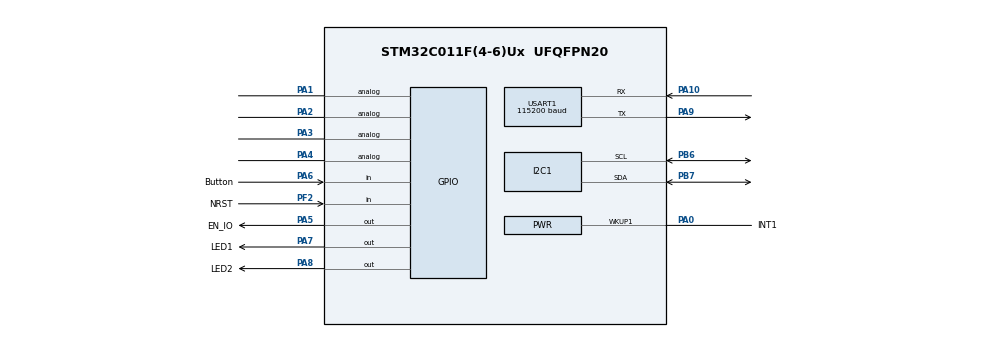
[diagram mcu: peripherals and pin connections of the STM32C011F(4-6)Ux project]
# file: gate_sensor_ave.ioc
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I2C1.Timing=0x00100B0C
Mcu.Family=STM32C0
Mcu.Name=STM32C011F(4-6)Ux
Mcu.Package=UFQFPN20
NVIC.TIM14_IRQn=true\:0\:0\:true\:false\:true\:true\:true\:true
NVIC.TIM16_IRQn=true\:1\:0\:true\:false\:true\:true\:true\:true
PA0.GPIO_Label=INT1
PA0.Mode=WakeUp1
PA0.Signal=PWR_WKUP1
PA1.Signal=GPIO_Analog
PA10\ [PA12].Mode=Asynchronous
PA10\ [PA12].Signal=USART1_RX
PA13.Mode=Serial_Wire
PA13.Signal=DEBUG_SWDIO
PA14-BOOT0.Mode=Serial_Wire
PA14-BOOT0.Signal=DEBUG_SWCLK
PA2.Signal=GPIO_Analog
PA3.Signal=GPIO_Analog
PA4.Signal=GPIO_Analog
PA5.GPIO_Label=EN_IO
PA5.Signal=GPIO_Output
PA6.GPIO_Label=Button
PA6.GPIO_PuPd=GPIO_PULLUP
PA6.Signal=GPIO_Input
PA7.GPIO_Label=LED1
PA7.Signal=GPIO_Output
PA8.GPIO_Label=LED2
PA8.Signal=GPIO_Output
PA9\ [PA11].Mode=Asynchronous
PA9\ [PA11].Signal=USART1_TX
PB6.GPIO_Pu=GPIO_PULLUP
PB6.Mode=I2C
PB6.Signal=I2C1_SCL
PB7.GPIO_Pu=GPIO_PULLUP
PB7.Mode=I2C
PB7.Signal=I2C1_SDA
PC14-OSCX_IN\ (PC14).Signal=RCC_OSCX_IN
PC15-OSCX_OUT\ (PC15).Signal=RCC_OSCX_OUT
PF2-NRST.GPIO_Label=NRST
PF2-NRST.Signal=GPIO_Input
ProjectManager.HeapSize=0x200
ProjectManager.StackSize=0x400
ProjectManager.TargetToolchain=STM32CubeIDE
RCC.ADCFreq_Value=3000000
RCC.AHBFreq_Value=3000000
RCC.CortexFreq_Value=3000000
RCC.EXTERNAL_CLOCK_VALUE=12288000
RCC.HCLKFreq_Value=3000000
RCC.HSE_VALUE=8000000
RCC.HSISYSCLKDivider=RCC_HSI_DIV16
RCC.HSI_VALUE=48000000
RCC.LSE_VALUE=32768
RCC.SYSCLKFreq_VALUE=3000000
TIM14.ClockDivision=TIM_CLOCKDIVISION_DIV1
TIM14.Period=99
TIM14.Prescaler=299
TIM16.Period=9
TIM16.Prescaler=299
USART1.BaudRate=115200
USART1.OverSampling=UART_OVERSAMPLING_16
USART1.SwapParam=ADVFEATURE_SWAP_DISABLE
USART1.VirtualMode-Asynchronous=VM_ASYNC
VP_SYS_VS_PINREMAP.Mode=PINREMAP
VP_SYS_VS_PINREMAP_10_12.Mode=PINREMAP_10_12
VP_TIM14_VS_ClockSourceINT.Mode=Enable_Timer
VP_TIM16_VS_ClockSourceINT.Mode=Enable_Timer
board=custom

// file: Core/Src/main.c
/* USER CODE BEGIN Header */
/**
  ******************************************************************************
  * @file           : main.c
  * @brief          : Main program body
  ******************************************************************************
  * @attention
  *
  * Copyright (c) 2025 STMicroelectronics.
  * All rights reserved.
  *
  * This software is licensed under terms that can be found in the LICENSE file
  * in the root directory of this software component.
  * If no LICENSE file comes with this software, it is provided AS-IS.
  *
  ******************************************************************************
  */
/* USER CODE END Header */
#include "main.h"
#include "i2c.h"
#include "tim.h"
#include "usart.h"
#include "gpio.h"

/* USER CODE BEGIN Includes */
#include "stdbool.h"
#include "bma400.h"
#include "math.h"
#include <stdio.h>
#include <string.h>
/* USER CODE END Includes */

/* USER CODE BEGIN PD */
#define SAMPLE_WINDOW 			10
#define MOTION_THRESHOLD_START 	200.0f
#define MOTION_THRESHOLD_STOP 	120.0f
#define STABLE_WINDOW			300
#define DEBOUNCE_TIME_MS 		1000
#define WARMUP_SAMPLES 			10
/* USER CODE END PD */

/* USER CODE BEGIN PV */
float sample_buffer[SAMPLE_WINDOW] = {0};
uint8_t sample_index = 0;

static float avg_hist[STABLE_WINDOW];
static uint16_t avg_idx = 0;
static uint16_t avg_count = 0;

float ave_min = 0.0f;
float ave_max = 0.0f;

bool motion_detected = false;
bool motion_active = false;

uint32_t debounce_start_time = 0;
volatile uint16_t motion_time = 0;
volatile uint16_t final_motion_time = 0;

volatile uint8_t flag_2sec = 0;
volatile uint16_t send_2sec = 0;

uint8_t warmup_counter = 0;

struct bma400_dev bma400 = {
	.intf = BMA400_I2C_INTF,
	.intf_ptr = &hi2c1,
	.read = user_i2c_read,
	.write = user_i2c_write,
	.delay_us = user_delay_us
};

typedef enum {
    MOTION_IDLE,
    MOTION_RUNNING,
} motion_state_t;

motion_state_t motion_state = MOTION_IDLE;

/* USER CODE END PV */

void SystemClock_Config(void);

/* USER CODE BEGIN 0 */
void enterStandby(void)
{
	__HAL_PWR_CLEAR_FLAG(PWR_FLAG_WUF);
  	HAL_PWR_EnableWakeUpPin(PWR_WAKEUP_PIN1);
    HAL_PWR_EnterSTANDBYMode();
}

// Configure BMA400 for low power + wake-up on Y-axis motion
void configureBMA400(struct bma400_dev *dev)
{
	bma400_set_power_mode(BMA400_MODE_NORMAL, dev);

	struct bma400_device_conf dev_conf[] = {
		{
			.type = BMA400_AUTO_LOW_POWER,	// auto low power after movement stops (350 ms)
			.param.auto_lp = {
				.auto_low_power_trigger = BMA400_AUTO_LP_GEN1_TRIGGER | BMA400_AUTO_LP_TIMEOUT_EN | BMA400_AUTO_LP_TIME_RESET_EN,
				.auto_lp_timeout_threshold = 20000	// 200 x 2.5 ms =  500 ms
			}
		},
		{
			.type = BMA400_AUTOWAKEUP_INT,	// wake-up interrupt on motion detection on Y axis
			.param.wakeup = {
				.wakeup_ref_update = BMA400_UPDATE_EVERY_TIME,
				.sample_count = BMA400_SAMPLE_COUNT_3,
				.wakeup_axes_en = BMA400_AXIS_Y_EN,
				.int_wkup_threshold = 5,				// 5 mg threshold
				.int_chan = BMA400_INT_CHANNEL_1
			}
		},
		{
			.type = BMA400_INT_PIN_CONF,	// configure interrupt pin
			.param.int_conf = {
				.int_chan = BMA400_INT_CHANNEL_1,
				.pin_conf = BMA400_INT_OPEN_DRAIN_ACTIVE_0
			}
		}
	};

	bma400_set_device_conf(dev_conf, 3, dev);

	struct bma400_sensor_conf sensor_conf = {
		.type = BMA400_ACCEL,	// configure accelerometer
		.param.accel = {
			.range = BMA400_RANGE_2G,
			.data_src = BMA400_DATA_SRC_ACCEL_FILT_2,
			.osr = BMA400_ACCEL_OSR_SETTING_3,
			.odr = BMA400_ODR_800HZ
		}
	};

	bma400_set_sensor_conf(&sensor_conf, 1, dev);
	set_auto_wakeup(BMA400_ENABLE, dev);	// enable auto wake up
}

float calc_average(float *buf, uint8_t size)
{
    float sum = 0.0f;
    for (uint8_t i = 0; i < size; i++)
        sum += buf[i];
    return sum / size;
}

void Send16BitESP(UART_HandleTypeDef *huart, uint16_t value) {
	char msg[16];
	snprintf(msg, sizeof(msg), "%u\n", value);

	//HAL_GPIO_WritePin(EN_IO_GPIO_Port, EN_IO_Pin, SET);
	//HAL_Delay(300);
	HAL_UART_Transmit(huart, (uint8_t *)msg, strlen(msg), HAL_MAX_DELAY);
	//HAL_Delay(10);
	//HAL_GPIO_WritePin(EN_IO_GPIO_Port, EN_IO_Pin, RESET);
}
/* USER CODE END 0 */

int main(void)
{

  /* MCU Configuration--------------------------------------------------------*/

  /* Reset of all peripherals, Initializes the Flash interface and the Systick. */
  HAL_Init();

  /* Configure the system clock */
  SystemClock_Config();

  /* Initialize all configured peripherals */
  MX_GPIO_Init();
  MX_I2C1_Init();
  MX_USART1_UART_Init();
  MX_TIM14_Init();
  MX_TIM16_Init();
  /* USER CODE BEGIN 2 */
  bma400_init(&bma400);
  configureBMA400(&bma400);
  HAL_GPIO_WritePin(EN_IO_GPIO_Port, EN_IO_Pin, SET);
  HAL_Delay(300);
  Send16BitESP(&huart1, 111);
  HAL_TIM_Base_Start_IT(&htim14);

  for (int i = 0; i < SAMPLE_WINDOW; i++)
      sample_buffer[i] = 0.0f;

  ave_min = 0.0f;
  ave_max = 0.0f;
  sample_index = 0;
  motion_state = MOTION_IDLE;
  /* USER CODE END 2 */

  /* Infinite loop */
  /* USER CODE BEGIN WHILE */
  while (1)
  {
	  if (flag_2sec)
	  {
	      flag_2sec = 0;
	      Send16BitESP(&huart1, send_2sec);
	  }
    /* USER CODE END WHILE */

  }
}

void SystemClock_Config(void)
{
  RCC_OscInitTypeDef RCC_OscInitStruct = {0};
  RCC_ClkInitTypeDef RCC_ClkInitStruct = {0};

  __HAL_FLASH_SET_LATENCY(FLASH_LATENCY_0);

  /** Initializes the RCC Oscillators according to the specified parameters
  * in the RCC_OscInitTypeDef structure.
  */
  RCC_OscInitStruct.OscillatorType = RCC_OSCILLATORTYPE_HSI;
  RCC_OscInitStruct.HSIState = RCC_HSI_ON;
  RCC_OscInitStruct.HSIDiv = RCC_HSI_DIV4;
  RCC_OscInitStruct.HSICalibrationValue = RCC_HSICALIBRATION_DEFAULT;
  if (HAL_RCC_OscConfig(&RCC_OscInitStruct) != HAL_OK)
  {
    Error_Handler();
  }

  /** Initializes the CPU, AHB and APB buses clocks
  */
  RCC_ClkInitStruct.ClockType = RCC_CLOCKTYPE_HCLK|RCC_CLOCKTYPE_SYSCLK
                              |RCC_CLOCKTYPE_PCLK1;
  RCC_ClkInitStruct.SYSCLKSource = RCC_SYSCLKSOURCE_HSI;
  RCC_ClkInitStruct.SYSCLKDivider = RCC_SYSCLK_DIV1;
  RCC_ClkInitStruct.AHBCLKDivider = RCC_HCLK_DIV1;
  RCC_ClkInitStruct.APB1CLKDivider = RCC_APB1_DIV1;

  if (HAL_RCC_ClockConfig(&RCC_ClkInitStruct, FLASH_LATENCY_0) != HAL_OK)
  {
    Error_Handler();
  }
}

/* USER CODE BEGIN 4 */
void HAL_TIM_PeriodElapsedCallback(TIM_HandleTypeDef *htim)
{
	if (htim->Instance == TIM14)
	{
	    struct bma400_sensor_data sample;
	    if (bma400_get_accel_data(BMA400_DATA_ONLY, &sample, &bma400) == BMA400_OK)
	    {
	    	if (warmup_counter < WARMUP_SAMPLES)
	    	{
	    	    sample_buffer[sample_index++] = sample.y;
	    	    if (sample_index >= SAMPLE_WINDOW)
	    	    {
	    	    	sample_index = 0;
	    	    }
	    	    warmup_counter++;
	    	    return; // jeszcze nie analizujemy ruchu
	    	}

	        sample_buffer[sample_index++] = sample.y;
	        if (sample_index >= SAMPLE_WINDOW)
	        {
	        	sample_index = 0;
	        }

	        float avg = calc_average(sample_buffer, SAMPLE_WINDOW);

	        avg_hist[avg_idx++] = avg;
	        if (avg_idx >= STABLE_WINDOW)
	        {
	        	avg_idx = 0;
	        }
	        if (avg_count < STABLE_WINDOW)
	        {
	        	avg_count++;
	        }

	        // aktualizacja min/max
	        if (avg < ave_min)
			{
	        	ave_min = avg;
	        }
	        if (avg > ave_max)
	        {
	        	ave_max = avg;
	        }

	        float diff = ave_max - ave_min;

	        switch (motion_state)
	        {
	            case MOTION_IDLE:
	                if (diff >= MOTION_THRESHOLD_START)
	                {
	                    motion_state = MOTION_RUNNING;
	                    motion_time = 0;
	                    HAL_TIM_Base_Start_IT(&htim16);
	                    avg_idx = 0;
	                    avg_count = 0;
	                }
	                break;

	            case MOTION_RUNNING:
	            {
	                // okno 300 próbek średnich
	                if (avg_count == STABLE_WINDOW)
	                {
	                    float wmin = avg_hist[0];
	                    float wmax = avg_hist[0];
	                    for (uint16_t i = 1; i < STABLE_WINDOW; i++)
	                    {
	                        float v = avg_hist[i];
	                        if (v < wmin)
	                        {
	                        	wmin = v;
	                        }
	                        if (v > wmax)
	                        {
	                        	wmax = v;
	                        }
	                    }

	                    if ((wmax - wmin) <= MOTION_THRESHOLD_STOP)
	                    {
	                        motion_state = MOTION_IDLE;
	                        HAL_TIM_Base_Stop_IT(&htim16);
	                        Send16BitESP(&huart1, motion_time);
	                        ave_min = 0.0f;
	                        ave_max = 0.0f;
	                        sample_index = 0;
	                    }
	                }
	            }
	            break;
	        }
	    }
	}
    else if (htim->Instance == TIM16)
    {
        motion_time++;

        static uint16_t tick_counter = 0;
        tick_counter++;
        if (tick_counter >= 2000)
        {
            tick_counter = 0;
            flag_2sec = 1;
            send_2sec = motion_time;
        }
	}
}
/* USER CODE END 4 */

void Error_Handler(void)
{
  /* USER CODE BEGIN Error_Handler_Debug */
  /* User can add his own implementation to report the HAL error return state */
  HAL_GPIO_WritePin(LED2_GPIO_Port, LED2_Pin, SET);
  while (1)
  {

  }
  /* USER CODE END Error_Handler_Debug */
}
